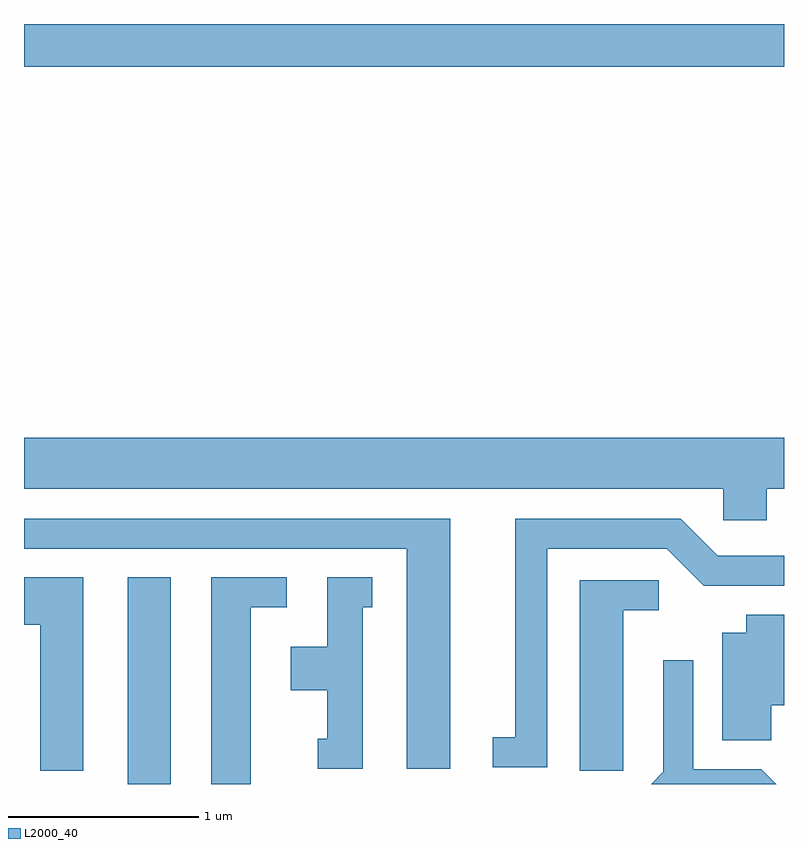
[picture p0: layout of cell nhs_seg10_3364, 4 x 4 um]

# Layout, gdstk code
import gdstk
lib = gdstk.Library(unit=1e-6, precision=1e-09)
def R(c, l, rs):  # rectangles x0, y0, x1, y1
    for r in rs: c.add(gdstk.rectangle(r[:2], r[2:], *l))
def P(c, l, *ps):  # polygons
    for p in ps: c.add(gdstk.Polygon(p, *l))
L2000_40 = (2000, 40)

nhs_seg10_3364 = lib.new_cell('nhs_seg10_3364')
R(nhs_seg10_3364, L2000_40, [(284.156,2174.522,284.384,2175.609), (283.611,2178.296,287.611,2178.522)])
P(nhs_seg10_3364, L2000_40, [(287.519,2176.076),(287.611,2176.076),(287.611,2176.344),(283.611,2176.344),(283.611,2176.076),(287.291,2176.076),(287.291,2175.911),(287.519,2175.911)],
  [(285.854,2175.919),(283.611,2175.919),(283.611,2175.761),(285.626,2175.761),(285.626,2174.601),(285.854,2174.601)],
  [(286.364,2175.761),(286.994,2175.761),(287.189,2175.566),(287.611,2175.566),(287.611,2175.724),(287.262,2175.724),(287.067,2175.919),(286.196,2175.919),(286.196,2174.769),(286.078,2174.769),(286.078,2174.611),(286.364,2174.611)],
  [(285.394,2175.451),(285.443,2175.451),(285.443,2175.609),(285.206,2175.609),(285.206,2175.244),(285.016,2175.244),(285.016,2175.016),(285.206,2175.016),(285.206,2174.759),(285.158,2174.759),(285.158,2174.601),(285.394,2174.601)],
  [(283.924,2175.609),(283.611,2175.609),(283.611,2175.361),(283.696,2175.361),(283.696,2174.591),(283.924,2174.591)],
  [(284.804,2175.451),(284.993,2175.451),(284.993,2175.609),(284.596,2175.609),(284.596,2174.522),(284.804,2174.522)],
  [(286.764,2175.436),(286.953,2175.436),(286.953,2175.594),(286.536,2175.594),(286.536,2174.591),(286.764,2174.591)],
  [(287.544,2174.936),(287.611,2174.936),(287.611,2175.414),(287.411,2175.414),(287.411,2175.319),(287.286,2175.319),(287.286,2174.751),(287.544,2174.751)],
  [(287.492,2174.599),(287.134,2174.599),(287.134,2175.173),(286.976,2175.173),(286.976,2174.587),(286.911,2174.522),(287.569,2174.522)])

lib.write_gds('nhs_seg10_3364.gds')
